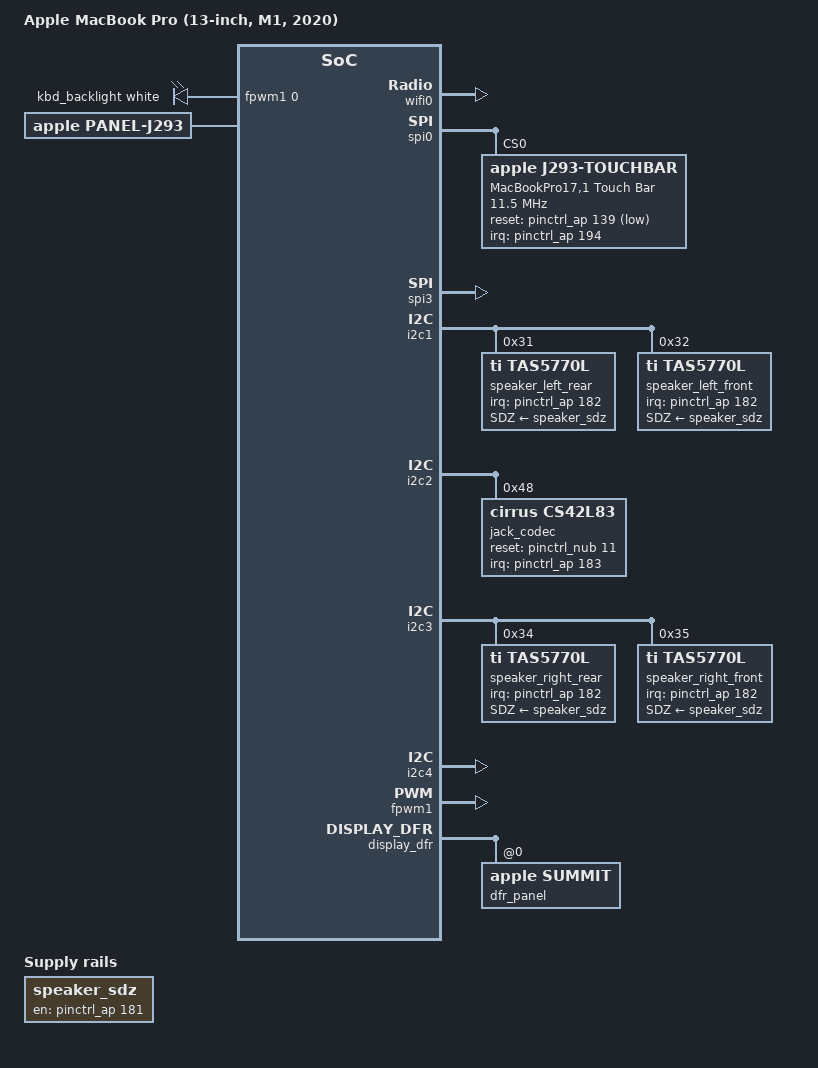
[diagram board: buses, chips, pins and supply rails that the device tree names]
// SPDX-License-Identifier: GPL-2.0+ OR MIT
/*
 * Apple MacBook Pro (13-inch, M1, 2020)
 *
 * target-type: J293
 *
 * Copyright The Asahi Linux Contributors
 */

/dts-v1/;

#include "t8103.dtsi"
#include "t8103-jxxx.dtsi"
#include <dt-bindings/leds/common.h>

/ {
	compatible = "apple,j293", "apple,t8103", "apple,arm-platform";
	model = "Apple MacBook Pro (13-inch, M1, 2020)";

	led-controller {
		compatible = "pwm-leds";
		led-0 {
			pwms = <&fpwm1 0 40000>;
			label = "kbd_backlight";
			function = LED_FUNCTION_KBD_BACKLIGHT;
			color = <LED_COLOR_ID_WHITE>;
			max-brightness = <255>;
			default-state = "keep";
		};
	};

	aliases {
		touchbar0 = &touchbar0;
	};
};

&dcp {
	panel: panel {
		compatible = "apple,panel-j293", "apple,panel";
		width-mm = <286>;
		height-mm = <179>;
		apple,max-brightness = <525>;
	};
};

&framebuffer0 {
	panel = &panel;
};

&bluetooth0 {
	brcm,board-type = "apple,honshu";
};

&wifi0 {
	brcm,board-type = "apple,honshu";
};

/*
 * Provide labels for the USB type C ports.
 */

&typec0 {
	label = "USB-C Left-back";
};

&typec1 {
	label = "USB-C Left-front";
};

&spi0 {
	status = "okay";

	touchbar0: touchbar@0 {
		compatible = "apple,j293-touchbar",
			"apple,z2-touchbar", "apple,z2-multitouch";
		reg = <0>;
		spi-max-frequency = <11500000>;
		spi-cs-setup-delay-ns = <2000>;
		spi-cs-hold-delay-ns = <2000>;
		reset-gpios = <&pinctrl_ap 139 GPIO_ACTIVE_LOW>;
		cs-gpios = <&pinctrl_ap 109 0>;
		interrupts-extended = <&pinctrl_ap 194 IRQ_TYPE_EDGE_FALLING>;
		firmware-name = "apple/dfrmtfw-j293.bin";
		touchscreen-size-x = <23045>;
		touchscreen-size-y = <640>;
		label = "MacBookPro17,1 Touch Bar";
	};
};

&spi3 {
	status = "okay";

	hid-transport@0 {
		compatible = "apple,spi-hid-transport";
		reg = <0>;
		spi-max-frequency = <8000000>;
		/*
		 * Apple's ADT specifies 20us CS change delays, and the
		 * SPI HID interface metadata specifies 45us. Using either
		 * seems not to be reliable, but adding both works, so
		 * best guess is they are cumulative.
		 */
		spi-cs-setup-delay-ns = <65000>;
		spi-cs-hold-delay-ns = <65000>;
		spi-cs-inactive-delay-ns = <250000>;
		spien-gpios = <&pinctrl_ap 195 0>;
		interrupts-extended = <&pinctrl_nub 13 IRQ_TYPE_LEVEL_LOW>;
	};
};

/* Virtual regulator representing the shared shutdown GPIO */
/ {
	speaker_sdz: fixed-regulator-tas5770-sdz {
		compatible = "regulator-fixed";
		regulator-name = "tas5770-sdz";
		startup-delay-us = <5000>;
		gpios = <&pinctrl_ap 181 GPIO_ACTIVE_HIGH>;
		enable-active-high;
	};
};

&i2c1 {
	speaker_left_rear: codec@31 {
		compatible = "ti,tas5770l", "ti,tas2770";
		reg = <0x31>;
		SDZ-supply = <&speaker_sdz>;
		#sound-dai-cells = <0>;
		sound-name-prefix = "Left Rear";
		interrupts-extended = <&pinctrl_ap 182 IRQ_TYPE_LEVEL_LOW>;
		ti,imon-slot-no = <8>;
		ti,vmon-slot-no = <10>;
		ti,pdm-slot-no = <12>;
	};

	speaker_left_front: codec@32 {
		compatible = "ti,tas5770l", "ti,tas2770";
		reg = <0x32>;
		SDZ-supply = <&speaker_sdz>;
		#sound-dai-cells = <0>;
		sound-name-prefix = "Left Front";
		interrupts-extended = <&pinctrl_ap 182 IRQ_TYPE_LEVEL_LOW>;
		ti,imon-slot-no = <0>;
		ti,vmon-slot-no = <2>;
		ti,pdm-slot-no = <4>;
		ti,sdout-pull-down;
	};
};

&i2c2 {
	status = "okay";

	jack_codec: codec@48 {
		compatible = "cirrus,cs42l83";
		reg = <0x48>;
		reset-gpios = <&pinctrl_nub 11 GPIO_ACTIVE_HIGH>;
		interrupt-parent = <&pinctrl_ap>;
		interrupts = <183 IRQ_TYPE_LEVEL_LOW>;
		#sound-dai-cells = <0>;
		cirrus,ts-inv = <1>;
		sound-name-prefix = "Jack";
	};
};

&i2c3 {
	speaker_right_rear: codec@34 {
		compatible = "ti,tas5770l", "ti,tas2770";
		reg = <0x34>;
		SDZ-supply = <&speaker_sdz>;
		#sound-dai-cells = <0>;
		sound-name-prefix = "Right Rear";
		interrupts-extended = <&pinctrl_ap 182 IRQ_TYPE_LEVEL_LOW>;
		ti,imon-slot-no = <12>;
		ti,vmon-slot-no = <14>;
		ti,pdm-slot-no = <16>;
	};

	speaker_right_front: codec@35 {
		compatible = "ti,tas5770l", "ti,tas2770";
		reg = <0x35>;
		SDZ-supply = <&speaker_sdz>;
		#sound-dai-cells = <0>;
		sound-name-prefix = "Right Front";
		interrupts-extended = <&pinctrl_ap 182 IRQ_TYPE_LEVEL_LOW>;
		ti,imon-slot-no = <4>;
		ti,vmon-slot-no = <6>;
		ti,pdm-slot-no = <8>;
		ti,sdout-pull-down;
	};
};

&i2c4 {
	status = "okay";
};

&fpwm1 {
	status = "okay";
};

&display_dfr {
	status = "okay";
	dfr_panel: panel@0 {
		compatible = "apple,summit";
		reg = <0>;
	};
};

/ {
	sound {
		compatible = "apple,j293-macaudio", "apple,macaudio";
		model = "MacBook Pro J293";

		dai-link@0 {
			link-name = "Speakers";

			cpu {
				sound-dai = <&mca 0>, <&mca 1>;
			};
			codec {
				sound-dai = <&speaker_left_front>, <&speaker_left_rear>,
					    <&speaker_right_front>, <&speaker_right_rear>;
			};
		};

		dai-link@1 {
			link-name = "Headphone Jack";

			cpu {
				sound-dai = <&mca 2>;
			};
			codec {
				sound-dai = <&jack_codec>;
			};
		};
	};
};

#include "isp-imx248.dtsi"

&isp {
	apple,platform-id = <1>;
};

#include "hwmon-fan.dtsi"
#include "hwmon-laptop.dtsi"
